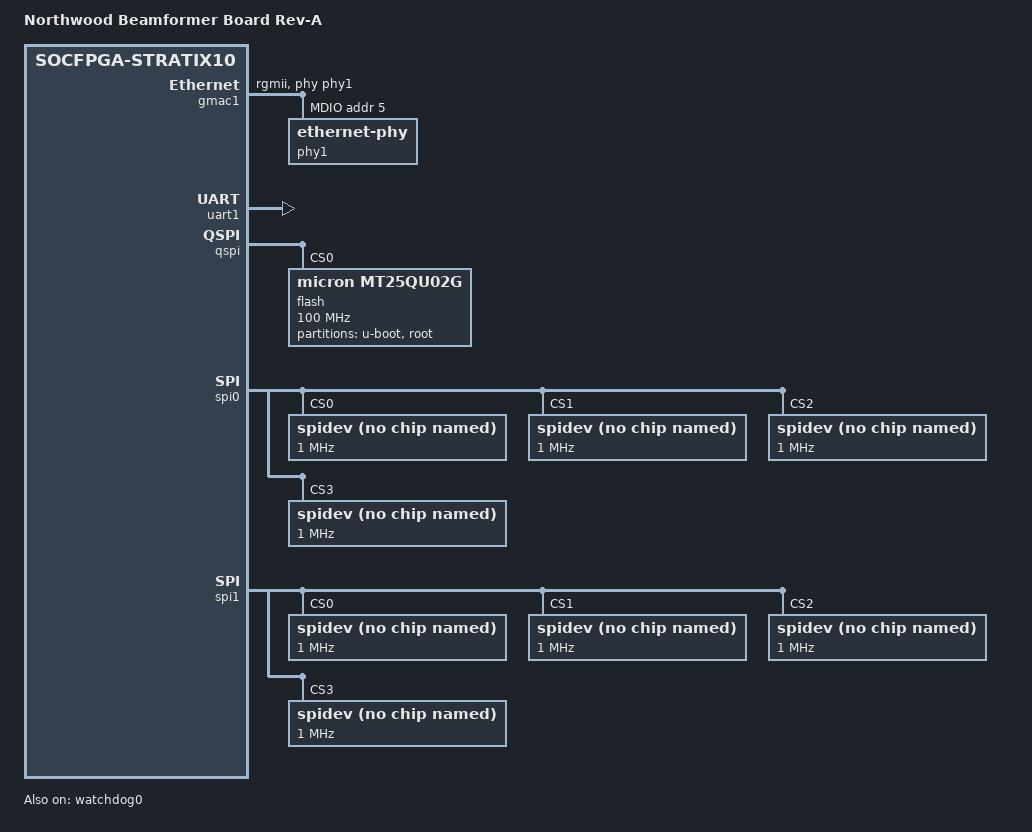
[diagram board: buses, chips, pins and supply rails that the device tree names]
// SPDX-License-Identifier: GPL-2.0-only
/*
 * Copyright Altera Corporation (C) 2015. All rights reserved.
 */

#include "socfpga_stratix10.dtsi"

/ {
	model = "Northwood Beamformer Board Rev-A";
	compatible = "altr,socfpga-stratix10-socdk", "altr,socfpga-stratix10";

	aliases {
		serial1 = &uart1;
		ethernet1 = &gmac1;
	};

	chosen {
		stdout-path = "serial1:115200n8";
	};

	memory@00000000 {
		device_type = "memory";
		/* We expect the bootloader to fill in the reg */
		/* On the beamforming board, we only have 2GiB of DDR4 */
		reg = <0 0x80000000 0 0>;
	};
};

// The pinout 
&gmac1 {
	status = "okay";
	phy-mode = "rgmii";
	phy-handle = <&phy1>;

	mdio {
		#address-cells = <1>;
		#size-cells = <0>;
		compatible = "snps,dwmac-mdio";

		/* looking at the strap-ins on phy.schdoc(M) of Jingwangs schematic.
					PHYAD0: 1
					PHYAD1: 0
					PHYAD2: 1
			The phy address, PHYAD[2:0], is sampled and latched at powerup/reset.
			Pull-up = 1, Pull-down = 0.
			PHYAD[4:3] = 00.
			PHYAD[2:0] = 0b101 -> 0x5
			PHYAD[4:0] = 0b00101 -> 0x5

			See datasheet for more information.
			https://ww1.microchip.com/downloads/en/DeviceDoc/00002117F.pdf
		*/
		phy1: ethernet-phy@5 {
			reg = <5>;
			rxd0-skew-ps = <480>;
			rxd1-skew-ps = <480>;
			rxd2-skew-ps = <480>;
			rxd3-skew-ps = <480>;
			rxdv-skew-ps = <480>;
			txd0-skew-ps = <360>;
			txd1-skew-ps = <360>;
			txd2-skew-ps = <360>;
			txd3-skew-ps = <360>;
			txen-skew-ps = <360>;
			rxc-skew-ps = <1680>;
			txc-skew-ps = <1800>;
		};
	};
};

&osc1 {
	clock-frequency = <125000000>;
};

&uart1 {
	status = "okay";
};

&watchdog0 {
	status = "okay";
};

&qspi {
	status = "okay";
	flash@0 {
		#address-cells = <1>;
		#size-cells = <1>;
		compatible = "micron,mt25qu02g", "jedec,spi-nor";
		reg = <0>;
		spi-max-frequency = <100000000>;

		m25p,fast-read;
		cdns,page-size = <256>;
		cdns,block-size = <16>;
		cdns,read-delay = <1>;
		cdns,tshsl-ns = <50>;
		cdns,tsd2d-ns = <50>;
		cdns,tchsh-ns = <4>;
		cdns,tslch-ns = <4>;

		partitions {
			compatible = "fixed-partitions";
			#address-cells = <1>;
			#size-cells = <1>;
			rsu-handle = <&qspi_boot>;

			qspi_boot: partition@0 {
				label = "u-boot";
				reg = <0x0 0x04200000>;
			};

			root: partition@4200000  {
				label = "root";
				reg = <0x04200000 0x0BE00000>;
			};
		};
	};
};

&temp_volt {
	voltage {
		#address-cells = <1>;
		#size-cells = <0>;
		input@2 {
			label = "0.8V VCC";
			reg = <2>;
		};

		input@3 {
			label = "1.0V VCCIO";
			reg = <3>;
		};

		input@6 {
			label = "0.9V VCCERAM";
			reg = <6>;
		};
	};

	temperature {
		#address-cells = <1>;
		#size-cells = <0>;

		input@0 {
			label = "Main Die SDM";
			reg = <0x0>;
		};
	};
};

&spi0 {
	status = "okay";
	num-cs = <4>;
	spidev@0 {
      /* chip select 0 */
      reg = <0>;
      compatible = "rohm,dh2228fv";
      spi-max-frequency = <1000000>;
  };
  spidev@1 {
      /* chip select 1 */
      reg = <1>;
      spi-max-frequency = <1000000>;
      compatible = "rohm,dh2228fv";
  };
  spidev@2 {
      /* chip select 2 */
      reg = <2>;
      spi-max-frequency = <1000000>;
      compatible = "rohm,dh2228fv";
  };
  spidev@3 {
      /* chip select 3 */
      reg = <3>;
      compatible = "rohm,dh2228fv";
      spi-max-frequency = <1000000>;
  };
};

&spi1 {
	status = "okay";
	num-cs = <4>;
	spidev@0 {
      /* chip select 0 */
      reg = <0>;
      compatible = "rohm,dh2228fv";
      spi-max-frequency = <1000000>;
  };
  spidev@1 {
      /* chip select 1 */
      reg = <1>;
      spi-max-frequency = <1000000>;
      compatible = "rohm,dh2228fv";
  };
  spidev@2 {
      /* chip select 2 */
      reg = <2>;
      spi-max-frequency = <1000000>;
      compatible = "rohm,dh2228fv";
  };
  spidev@3 {
      /* chip select 3 */
      reg = <3>;
      compatible = "rohm,dh2228fv";
      spi-max-frequency = <1000000>;
  };
};
